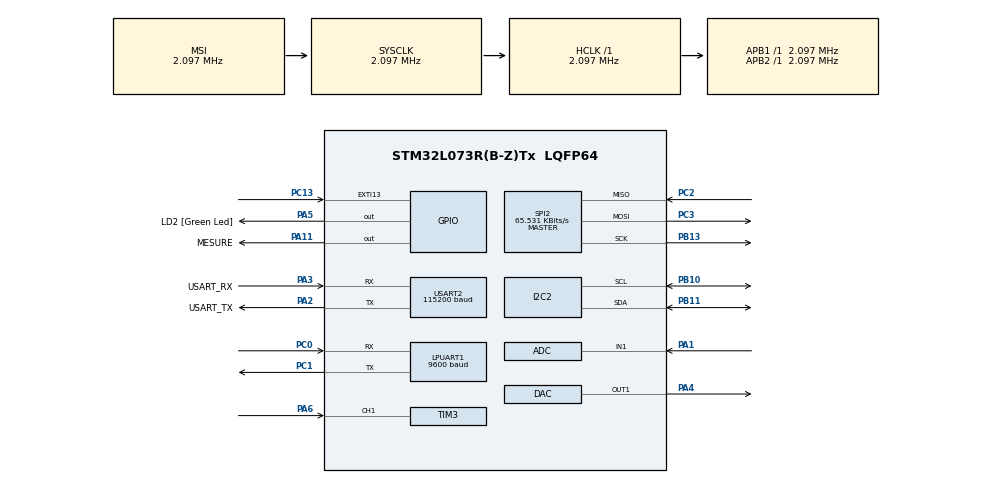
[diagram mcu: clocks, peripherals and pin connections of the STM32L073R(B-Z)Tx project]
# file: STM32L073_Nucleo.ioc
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ADC.ClockPrescaler=ADC_CLOCK_SYNC_PCLK_DIV2
ADC.ContinuousConvMode=DISABLE
ADC.DMAContinuousRequests=DISABLE
ADC.DataAlign=ADC_DATAALIGN_RIGHT
ADC.DiscontinuousConvMode=DISABLE
ADC.EOCSelection=ADC_EOC_SINGLE_CONV
ADC.EnableAnalogWatchDog=false
ADC.ExternalTrigConv=ADC_SOFTWARE_START
ADC.ExternalTrigConvEdge=ADC_EXTERNALTRIGCONVEDGE_NONE
ADC.LowPowerAutoPowerOff=DISABLE
ADC.LowPowerAutoWait=DISABLE
ADC.LowPowerFrequencyMode=DISABLE
ADC.Overrun=ADC_OVR_DATA_PRESERVED
ADC.OversamplingMode=DISABLE
ADC.Resolution=ADC_RESOLUTION_12B
ADC.SamplingTime=ADC_SAMPLETIME_160CYCLES_5
ADC.ScanConvMode=ADC_SCAN_DIRECTION_FORWARD
Dma.LPUART1_RX.0.Direction=DMA_PERIPH_TO_MEMORY
Dma.LPUART1_RX.0.Instance=DMA1_Channel3
Dma.LPUART1_RX.0.MemDataAlignment=DMA_MDATAALIGN_BYTE
Dma.LPUART1_RX.0.MemInc=DMA_MINC_ENABLE
Dma.LPUART1_RX.0.Mode=DMA_NORMAL
Dma.LPUART1_RX.0.PeriphDataAlignment=DMA_PDATAALIGN_BYTE
Dma.LPUART1_RX.0.PeriphInc=DMA_PINC_DISABLE
Dma.LPUART1_RX.0.Priority=DMA_PRIORITY_LOW
Dma.Request0=LPUART1_RX
Dma.Request1=SPI2_RX
Dma.Request2=SPI2_TX
Dma.Request3=TIM3_CH1
Dma.SPI2_RX.1.Direction=DMA_PERIPH_TO_MEMORY
Dma.SPI2_RX.1.Instance=DMA1_Channel4
Dma.SPI2_RX.1.MemDataAlignment=DMA_MDATAALIGN_BYTE
Dma.SPI2_RX.1.MemInc=DMA_MINC_ENABLE
Dma.SPI2_RX.1.Mode=DMA_NORMAL
Dma.SPI2_RX.1.PeriphDataAlignment=DMA_PDATAALIGN_BYTE
Dma.SPI2_RX.1.PeriphInc=DMA_PINC_DISABLE
Dma.SPI2_RX.1.Priority=DMA_PRIORITY_LOW
Dma.SPI2_TX.2.Direction=DMA_MEMORY_TO_PERIPH
Dma.SPI2_TX.2.Instance=DMA1_Channel7
Dma.SPI2_TX.2.MemDataAlignment=DMA_MDATAALIGN_BYTE
Dma.SPI2_TX.2.MemInc=DMA_MINC_ENABLE
Dma.SPI2_TX.2.Mode=DMA_NORMAL
Dma.SPI2_TX.2.PeriphDataAlignment=DMA_PDATAALIGN_BYTE
Dma.SPI2_TX.2.PeriphInc=DMA_PINC_DISABLE
Dma.SPI2_TX.2.Priority=DMA_PRIORITY_LOW
Dma.TIM3_CH1.3.Direction=DMA_PERIPH_TO_MEMORY
Dma.TIM3_CH1.3.Instance=DMA1_Channel5
Dma.TIM3_CH1.3.MemDataAlignment=DMA_MDATAALIGN_HALFWORD
Dma.TIM3_CH1.3.MemInc=DMA_MINC_ENABLE
Dma.TIM3_CH1.3.Mode=DMA_NORMAL
Dma.TIM3_CH1.3.PeriphDataAlignment=DMA_PDATAALIGN_HALFWORD
Dma.TIM3_CH1.3.PeriphInc=DMA_PINC_DISABLE
Dma.TIM3_CH1.3.Priority=DMA_PRIORITY_LOW
LPUART1.BaudRate=9600
LPUART1.OverrunDisableParam=UART_ADVFEATURE_OVERRUN_DISABLE
LPUART1.WordLength=UART_WORDLENGTH_8B
Mcu.Family=STM32L0
Mcu.Name=STM32L073R(B-Z)Tx
Mcu.Package=LQFP64
NVIC.AES_RNG_LPUART1_IRQn=true\:0\:0\:false\:false\:true\:true
NVIC.DMA1_Channel2_3_IRQn=true\:0\:0\:false\:false\:true\:true
NVIC.DMA1_Channel4_5_6_7_IRQn=true\:2\:0\:true\:false\:true\:true
NVIC.EXTI4_15_IRQn=true\:0\:0\:false\:false\:true\:true
NVIC.RTC_IRQn=true\:0\:0\:false\:false\:true\:true
NVIC.TIM3_IRQn=true\:0\:0\:false\:false\:true\:true
NVIC.TIM6_DAC_IRQn=true\:0\:0\:false\:false\:true\:true
NVIC.USART2_IRQn=true\:1\:0\:true\:false\:true\:true
PA1.Mode=IN1
PA1.Signal=ADC_IN1
PA11.GPIO_Label=MESURE
PA11.Signal=GPIO_Output
PA13.GPIO_Label=TMS
PA13.Mode=Serial_Wire
PA13.Signal=SYS_SWDIO
PA14.GPIO_Label=TCK
PA14.Mode=Serial_Wire
PA14.Signal=SYS_SWCLK
PA2.GPIO_Label=USART_TX
PA2.Mode=Asynchronous
PA2.Signal=USART2_TX
PA3.GPIO_Label=USART_RX
PA3.Mode=Asynchronous
PA3.Signal=USART2_RX
PA4.Signal=COMP_DAC1_group
PA5.GPIO_Label=LD2 [Green Led]
PA5.Signal=GPIO_Output
PA6.Signal=S_TIM3_CH1
PB10.Mode=I2C
PB10.Signal=I2C2_SCL
PB11.Mode=I2C
PB11.Signal=I2C2_SDA
PB13.Mode=Full_Duplex_Master
PB13.Signal=SPI2_SCK
PC0.Mode=Asynchronous
PC0.Signal=LPUART1_RX
PC1.Mode=Asynchronous
PC1.Signal=LPUART1_TX
PC13.Signal=GPXTI13
PC14-OSC32_IN.Signal=RCC_OSC32_IN
PC15-OSC32_OUT.Signal=RCC_OSC32_OUT
PC2.Mode=Full_Duplex_Master
PC2.Signal=SPI2_MISO
PC3.Mode=Full_Duplex_Master
PC3.Signal=SPI2_MOSI
PH0-OSC_IN.GPIO_Label=MCO
PH0-OSC_IN.Signal=RCC_OSC_IN
ProjectManager.HeapSize=0x200
ProjectManager.StackSize=0x400
ProjectManager.TargetToolchain=SW4STM32
RCC.AHBFreq_Value=2097000
RCC.APB1Freq_Value=2097000
RCC.APB1TimFreq_Value=2097000
RCC.APB2Freq_Value=2097000
RCC.APB2TimFreq_Value=2097000
RCC.EnableCSSLSE=false
RCC.HSE_VALUE=8000000
RCC.HSI16_VALUE=16000000
RCC.HSI48_VALUE=48000000
RCC.HSI_VALUE=16000000
RCC.LSEState=RCC_LSE_ON
RCC.LSE_VALUE=32768
RCC.MSI_VALUE=2097000
RCC.PLLSourceVirtual=RCC_PLLSOURCE_HSI
RCC.RCC_PERIPHCLK_HSI48Var=RCC_PERIPHCLK_USB
RCC.SYSCLKFreq_VALUE=2097000
RCC.VCOOutputFreq_Value=48000000
RTC.Alarm-Alarm\ A=RTC_ALARM_A
RTC.AlarmDateWeekDay-Alarm\ A=1
RTC.AlarmDateWeekDaySel-Alarm\ A=RTC_ALARMDATEWEEKDAYSEL_DATE
RTC.AlarmMaskDateWeekDay-Alarm\ A=RTC_ALARMMASK_DATEWEEKDAY
RTC.AlarmMaskHours-Alarm\ A=RTC_ALARMMASK_HOURS
RTC.AlarmMaskMinutes-Alarm\ A=RTC_ALARMMASK_MINUTES
RTC.AlarmMaskSeconds-Alarm\ A=RTC_ALARMMASK_SECONDS
RTC.Date=17
RTC.Hours=0
RTC.Month=RTC_MONTH_NOVEMBER
RTC.Seconds_A-Alarm\ A=2
RTC.WeekDay=RTC_WEEKDAY_FRIDAY
RTC.Year=17
SH.COMP_DAC1_group.0=DAC_OUT1,DAC_OUT1
SH.S_TIM3_CH1.0=TIM3_CH1,Input_Capture1_from_TI1
SPI2.BaudRatePrescaler=SPI_BAUDRATEPRESCALER_32
SPI2.CalculateBaudRate=65.531 KBits/s
SPI2.Direction=SPI_DIRECTION_2LINES
SPI2.Mode=SPI_MODE_MASTER
SPI2.VirtualType=VM_MASTER
TIM3.Channel-Input_Capture1_from_TI1=TIM_CHANNEL_1
TIM3.ICPolarity_CH1=TIM_INPUTCHANNELPOLARITY_BOTHEDGE
TIM3.Period=65535
TIM3.Prescaler=9
TIM6.Period=100
TIM6.Prescaler=2096
USART2.BaudRate=115200
USART2.OverrunDisableParam=UART_ADVFEATURE_OVERRUN_DISABLE
USART2.VirtualMode-Asynchronous=VM_ASYNC
USART2.WordLength=WORDLENGTH_8B
VP_ADC_TempSens_Input.Mode=IN-TempSens
VP_RTC_VS_RTC_Activate.Mode=RTC_Enabled
VP_RTC_VS_RTC_Alarm_A_Intern.Mode=Alarm A
VP_RTC_VS_RTC_Calendar.Mode=RTC_Calendar
VP_TIM3_VS_ClockSourceINT.Mode=Internal
VP_TIM6_VS_ClockSourceINT.Mode=Enable_Timer
board=NUCLEO-L073RZ

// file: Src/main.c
/**
  ******************************************************************************
  * File Name          : main.c
  * Description        : Main program body
  ******************************************************************************
  *
  * COPYRIGHT(c) 2017 STMicroelectronics
  *
  * Redistribution and use in source and binary forms, with or without modification,
  * are permitted provided that the following conditions are met:
  *   1. Redistributions of source code must retain the above copyright notice,
  *      this list of conditions and the following disclaimer.
  *   2. Redistributions in binary form must reproduce the above copyright notice,
  *      this list of conditions and the following disclaimer in the documentation
  *      and/or other materials provided with the distribution.
  *   3. Neither the name of STMicroelectronics nor the names of its contributors
  *      may be used to endorse or promote products derived from this software
  *      without specific prior written permission.
  *
  * THIS SOFTWARE IS PROVIDED BY THE COPYRIGHT HOLDERS AND CONTRIBUTORS "AS IS"
  * AND ANY EXPRESS OR IMPLIED WARRANTIES, INCLUDING, BUT NOT LIMITED TO, THE
  * IMPLIED WARRANTIES OF MERCHANTABILITY AND FITNESS FOR A PARTICULAR PURPOSE ARE
  * DISCLAIMED. IN NO EVENT SHALL THE COPYRIGHT HOLDER OR CONTRIBUTORS BE LIABLE
  * FOR ANY DIRECT, INDIRECT, INCIDENTAL, SPECIAL, EXEMPLARY, OR CONSEQUENTIAL
  * DAMAGES (INCLUDING, BUT NOT LIMITED TO, PROCUREMENT OF SUBSTITUTE GOODS OR
  * SERVICES; LOSS OF USE, DATA, OR PROFITS; OR BUSINESS INTERRUPTION) HOWEVER
  * CAUSED AND ON ANY THEORY OF LIABILITY, WHETHER IN CONTRACT, STRICT LIABILITY,
  * OR TORT (INCLUDING NEGLIGENCE OR OTHERWISE) ARISING IN ANY WAY OUT OF THE USE
  * OF THIS SOFTWARE, EVEN IF ADVISED OF THE POSSIBILITY OF SUCH DAMAGE.
  *
  ******************************************************************************
  */
#include "main.h"
#include "stm32l0xx_hal.h"

/* USER CODE BEGIN Includes */
#include "print_menu.h"
#include "rtc.h"
#include "gpio.h"
#include "adc.h"
#include "tim.h"
#include "spi.h"
#include "callback.h"
#include "uart.h"

/* USER CODE END Includes */

ADC_HandleTypeDef hadc;

DAC_HandleTypeDef hdac;

I2C_HandleTypeDef hi2c2;

UART_HandleTypeDef hlpuart1;
UART_HandleTypeDef huart2;
DMA_HandleTypeDef hdma_lpuart1_rx;

RTC_HandleTypeDef hrtc;

SPI_HandleTypeDef hspi2;
DMA_HandleTypeDef hdma_spi2_rx;
DMA_HandleTypeDef hdma_spi2_tx;

TIM_HandleTypeDef htim3;
TIM_HandleTypeDef htim6;
DMA_HandleTypeDef hdma_tim3_ch1;

/* USER CODE BEGIN PV */
/* Private variables ---------------------------------------------------------*/

state etat_courant=MENU_START_PRINT;

/***** Buffer UART2, LPUART, et SPI *****/
uint8_t rx_buffer_uart[TAILLE_BUF_UART_RX]={0};
uint8_t tx_buffer_uart[TAILLE_BUF_UART_TX]={0};
uint8_t rx_buffer_lpuart[TAILLE_BUF_LPUART_RX]={0};
uint8_t tx_buffer_lpuart[TAILLE_BUF_LPUART_TX]={ 'A' , 'B' , 'C' , 'D' , '\0' };
uint8_t rx_buffer_spi[TAILLE_BUF_SPI]={0};
uint8_t tx_buffer_spi[TAILLE_BUF_SPI]={0,11,22,33,44,55,66,77,88,99};

/***** Variables Gestion UART2 *****/
uint8_t  UART2_IsStringValid=0;
uint8_t  UART2_CaractereRecu;
uint32_t UART2_NbrCaractereRecu=0;

/***** variables Gestion Input Captur TIM3  *****/
uint8_t  IC_IsCaptureDone=0;
uint8_t  IC_PA11Calculate=0;
uint8_t  IC_PA11Start=1;
uint16_t IC_Captures[2];

/***** Variables Gestion LPUART *****/
uint8_t LPUART_IsITReceived=0;
uint8_t LPUART_IsDMAReceived=0;

/***** Variables Gestion sortie des Etats *****/
uint8_t AttenteSortieEtat=0;
volatile uint8_t SortieEtat=0;

/***** Variables Gestion RTC *****/
RTC_DateTypeDef my_date;
RTC_TimeTypeDef my_time;

/* USER CODE END PV */

void SystemClock_Config(void);
void Error_Handler(void);
static void MX_GPIO_Init(void);
static void MX_DMA_Init(void);
static void MX_USART2_UART_Init(void);
static void MX_ADC_Init(void);
static void MX_DAC_Init(void);
static void MX_RTC_Init(void);
static void MX_TIM6_Init(void);
static void MX_TIM3_Init(void);
static void MX_SPI2_Init(void);
static void MX_I2C2_Init(void);
static void MX_LPUART1_UART_Init(void);

/* USER CODE BEGIN PFP */
/* Private function prototypes -----------------------------------------------*/

/* USER CODE END PFP */

int main(void)
{

  /* MCU Configuration----------------------------------------------------------*/

  /* Reset of all peripherals, Initializes the Flash interface and the Systick. */
  HAL_Init();

  /* Configure the system clock */
  SystemClock_Config();

  /* Initialize all configured peripherals */
  MX_GPIO_Init();
  MX_DMA_Init();
  MX_USART2_UART_Init();
  MX_ADC_Init();
  MX_DAC_Init();
  MX_RTC_Init();
  MX_TIM6_Init();
  MX_TIM3_Init();
  MX_SPI2_Init();
  MX_I2C2_Init();
  MX_LPUART1_UART_Init();

  /* USER CODE BEGIN 2 */
  HAL_DAC_Start(&hdac,DAC_CHANNEL_1);
  HAL_TIM_Base_Start(&htim3);

  /* USER CODE END 2 */

  /* Infinite loop */
  /* USER CODE BEGIN WHILE */

  /***** Desactivation des IRQ BP(User) et RTC *****/
  HAL_NVIC_DisableIRQ(EXTI4_15_IRQn);
  HAL_NVIC_DisableIRQ(RTC_IRQn);

  /***** Desactivation du LP_UART1 *****/
  HAL_UART_DeInit(&hlpuart1);

 PRINTF(TERMINAL_RESET);

  while (1)
  {

  /* USER CODE END WHILE */

  /* USER CODE BEGIN 3 */
	  switch(etat_courant){
	  case MENU_START_PRINT 		: print_menu();															break;
	  case MENU_GPIO_PRINT			: print_menu_gpio();													break;
	  case TEST_GPIO_POLLING		: test_gpio(TEST_GPIO_POLLING);			etat_courant=MENU_GPIO_PRINT;	break;
	  case TEST_GPIO_IT				: test_gpio(TEST_GPIO_IT);				etat_courant=MENU_GPIO_PRINT;	break;
	  case MENU_ADC_PRINT			: print_menu_adc();														break;
	  case TEST_ADC_IN1				: test_adc(TEST_ADC_IN1);				etat_courant=MENU_ADC_PRINT;	break;
	  case TEST_ADC_TEMPERATURE 	: test_adc(TEST_ADC_TEMPERATURE); 		etat_courant=MENU_ADC_PRINT; 	break;
	  case TEST_ADC_CALIB			: test_adc(TEST_ADC_CALIB);				etat_courant=MENU_ADC_PRINT; 	break;
	  case MENU_RTC_PRINT			: print_menu_rtc();														break;
	  case TEST_RTC_GET				: test_rtc(TEST_RTC_GET);				etat_courant=MENU_RTC_PRINT;	break;
	  case TEST_RTC_SET				: test_rtc(TEST_RTC_SET);				etat_courant=MENU_RTC_PRINT;	break;
	  case TEST_RTC_ALARM			: test_rtc(TEST_RTC_ALARM);				etat_courant=MENU_RTC_PRINT;	break;
	  case MENU_TIMER_PRINT			: print_menu_timer();													break;
	  case TEST_TIM6_BASIC			: test_timer(TEST_TIM6_BASIC);			etat_courant=MENU_TIMER_PRINT;	break;
	  case TEST_TIM3_IC_PA5			: test_timer(TEST_TIM3_IC_PA5);			etat_courant=MENU_TIMER_PRINT;	break;
	  case TEST_TIM3_IC_PA11		: test_timer(TEST_TIM3_IC_PA11);		etat_courant=MENU_TIMER_PRINT;	break;
	  case TEST_SPI					: test_spi();							etat_courant=MENU_START_PRINT;	break;
	  case MENU_UART_PRINT			: print_menu_uart();													break;
	  case TEST_UART_POLLING		: test_uart(TEST_UART_POLLING);			etat_courant=MENU_UART_PRINT;	break;
	  case TEST_UART_IT				: test_uart(TEST_UART_IT);				etat_courant=MENU_UART_PRINT;	break;
	  case TEST_UART_DMA			: test_uart(TEST_UART_DMA);				etat_courant=MENU_UART_PRINT;	break;

	  }
  }
  /* USER CODE END 3 */

}

/** System Clock Configuration
*/
void SystemClock_Config(void)
{

  RCC_OscInitTypeDef RCC_OscInitStruct;
  RCC_ClkInitTypeDef RCC_ClkInitStruct;
  RCC_PeriphCLKInitTypeDef PeriphClkInit;

    /**Configure the main internal regulator output voltage
    */
  __HAL_PWR_VOLTAGESCALING_CONFIG(PWR_REGULATOR_VOLTAGE_SCALE1);

    /**Initializes the CPU, AHB and APB busses clocks
    */
  RCC_OscInitStruct.OscillatorType = RCC_OSCILLATORTYPE_LSI|RCC_OSCILLATORTYPE_MSI;
  RCC_OscInitStruct.LSIState = RCC_LSI_ON;
  RCC_OscInitStruct.MSIState = RCC_MSI_ON;
  RCC_OscInitStruct.MSICalibrationValue = 0;
  RCC_OscInitStruct.MSIClockRange = RCC_MSIRANGE_5;
  RCC_OscInitStruct.PLL.PLLState = RCC_PLL_NONE;
  if (HAL_RCC_OscConfig(&RCC_OscInitStruct) != HAL_OK)
  {
    Error_Handler();
  }

    /**Initializes the CPU, AHB and APB busses clocks
    */
  RCC_ClkInitStruct.ClockType = RCC_CLOCKTYPE_HCLK|RCC_CLOCKTYPE_SYSCLK
                              |RCC_CLOCKTYPE_PCLK1|RCC_CLOCKTYPE_PCLK2;
  RCC_ClkInitStruct.SYSCLKSource = RCC_SYSCLKSOURCE_MSI;
  RCC_ClkInitStruct.AHBCLKDivider = RCC_SYSCLK_DIV1;
  RCC_ClkInitStruct.APB1CLKDivider = RCC_HCLK_DIV1;
  RCC_ClkInitStruct.APB2CLKDivider = RCC_HCLK_DIV1;

  if (HAL_RCC_ClockConfig(&RCC_ClkInitStruct, FLASH_LATENCY_0) != HAL_OK)
  {
    Error_Handler();
  }

  PeriphClkInit.PeriphClockSelection = RCC_PERIPHCLK_USART2|RCC_PERIPHCLK_LPUART1
                              |RCC_PERIPHCLK_RTC|RCC_PERIPHCLK_USB;
  PeriphClkInit.Usart2ClockSelection = RCC_USART2CLKSOURCE_PCLK1;
  PeriphClkInit.Lpuart1ClockSelection = RCC_LPUART1CLKSOURCE_PCLK1;
  PeriphClkInit.RTCClockSelection = RCC_RTCCLKSOURCE_LSI;
  if (HAL_RCCEx_PeriphCLKConfig(&PeriphClkInit) != HAL_OK)
  {
    Error_Handler();
  }

    /**Configure the Systick interrupt time
    */
  HAL_SYSTICK_Config(HAL_RCC_GetHCLKFreq()/1000);

    /**Configure the Systick
    */
  HAL_SYSTICK_CLKSourceConfig(SYSTICK_CLKSOURCE_HCLK);

  /* SysTick_IRQn interrupt configuration */
  HAL_NVIC_SetPriority(SysTick_IRQn, 0, 0);
}

/* ADC init function */
static void MX_ADC_Init(void)
{

  ADC_ChannelConfTypeDef sConfig;

    /**Configure the global features of the ADC (Clock, Resolution, Data Alignment and number of conversion)
    */
  hadc.Instance = ADC1;
  hadc.Init.OversamplingMode = DISABLE;
  hadc.Init.ClockPrescaler = ADC_CLOCK_SYNC_PCLK_DIV2;
  hadc.Init.Resolution = ADC_RESOLUTION_12B;
  hadc.Init.SamplingTime = ADC_SAMPLETIME_160CYCLES_5;
  hadc.Init.ScanConvMode = ADC_SCAN_DIRECTION_FORWARD;
  hadc.Init.DataAlign = ADC_DATAALIGN_RIGHT;
  hadc.Init.ContinuousConvMode = DISABLE;
  hadc.Init.DiscontinuousConvMode = DISABLE;
  hadc.Init.ExternalTrigConvEdge = ADC_EXTERNALTRIGCONVEDGE_NONE;
  hadc.Init.ExternalTrigConv = ADC_SOFTWARE_START;
  hadc.Init.DMAContinuousRequests = DISABLE;
  hadc.Init.EOCSelection = ADC_EOC_SINGLE_CONV;
  hadc.Init.Overrun = ADC_OVR_DATA_PRESERVED;
  hadc.Init.LowPowerAutoWait = DISABLE;
  hadc.Init.LowPowerFrequencyMode = DISABLE;
  hadc.Init.LowPowerAutoPowerOff = DISABLE;
  if (HAL_ADC_Init(&hadc) != HAL_OK)
  {
    Error_Handler();
  }

    /**Configure for the selected ADC regular channel to be converted.
    */
  sConfig.Channel = ADC_CHANNEL_1;
  sConfig.Rank = ADC_RANK_CHANNEL_NUMBER;
  if (HAL_ADC_ConfigChannel(&hadc, &sConfig) != HAL_OK)
  {
    Error_Handler();
  }

    /**Configure for the selected ADC regular channel to be converted.
    */
  sConfig.Channel = ADC_CHANNEL_TEMPSENSOR;
  if (HAL_ADC_ConfigChannel(&hadc, &sConfig) != HAL_OK)
  {
    Error_Handler();
  }

}

/* DAC init function */
static void MX_DAC_Init(void)
{

  DAC_ChannelConfTypeDef sConfig;

    /**DAC Initialization
    */
  hdac.Instance = DAC;
  if (HAL_DAC_Init(&hdac) != HAL_OK)
  {
    Error_Handler();
  }

    /**DAC channel OUT1 config
    */
  sConfig.DAC_Trigger = DAC_TRIGGER_NONE;
  sConfig.DAC_OutputBuffer = DAC_OUTPUTBUFFER_ENABLE;
  if (HAL_DAC_ConfigChannel(&hdac, &sConfig, DAC_CHANNEL_1) != HAL_OK)
  {
    Error_Handler();
  }

}

/* I2C2 init function */
static void MX_I2C2_Init(void)
{

  hi2c2.Instance = I2C2;
  hi2c2.Init.Timing = 0x00000708;
  hi2c2.Init.OwnAddress1 = 0;
  hi2c2.Init.AddressingMode = I2C_ADDRESSINGMODE_7BIT;
  hi2c2.Init.DualAddressMode = I2C_DUALADDRESS_DISABLE;
  hi2c2.Init.OwnAddress2 = 0;
  hi2c2.Init.OwnAddress2Masks = I2C_OA2_NOMASK;
  hi2c2.Init.GeneralCallMode = I2C_GENERALCALL_DISABLE;
  hi2c2.Init.NoStretchMode = I2C_NOSTRETCH_DISABLE;
  if (HAL_I2C_Init(&hi2c2) != HAL_OK)
  {
    Error_Handler();
  }

    /**Configure Analogue filter
    */
  if (HAL_I2CEx_ConfigAnalogFilter(&hi2c2, I2C_ANALOGFILTER_ENABLE) != HAL_OK)
  {
    Error_Handler();
  }

    /**Configure Digital filter
    */
  if (HAL_I2CEx_ConfigDigitalFilter(&hi2c2, 0) != HAL_OK)
  {
    Error_Handler();
  }

}

/* LPUART1 init function */
static void MX_LPUART1_UART_Init(void)
{

  hlpuart1.Instance = LPUART1;
  hlpuart1.Init.BaudRate = 9600;
  hlpuart1.Init.WordLength = UART_WORDLENGTH_8B;
  hlpuart1.Init.StopBits = UART_STOPBITS_1;
  hlpuart1.Init.Parity = UART_PARITY_NONE;
  hlpuart1.Init.Mode = UART_MODE_TX_RX;
  hlpuart1.Init.HwFlowCtl = UART_HWCONTROL_NONE;
  hlpuart1.Init.OneBitSampling = UART_ONE_BIT_SAMPLE_DISABLE;
  hlpuart1.AdvancedInit.AdvFeatureInit = UART_ADVFEATURE_RXOVERRUNDISABLE_INIT;
  hlpuart1.AdvancedInit.OverrunDisable = UART_ADVFEATURE_OVERRUN_DISABLE;
  if (HAL_UART_Init(&hlpuart1) != HAL_OK)
  {
    Error_Handler();
  }

}

/* USART2 init function */
static void MX_USART2_UART_Init(void)
{

  huart2.Instance = USART2;
  huart2.Init.BaudRate = 115200;
  huart2.Init.WordLength = UART_WORDLENGTH_8B;
  huart2.Init.StopBits = UART_STOPBITS_1;
  huart2.Init.Parity = UART_PARITY_NONE;
  huart2.Init.Mode = UART_MODE_TX_RX;
  huart2.Init.HwFlowCtl = UART_HWCONTROL_NONE;
  huart2.Init.OverSampling = UART_OVERSAMPLING_16;
  huart2.Init.OneBitSampling = UART_ONE_BIT_SAMPLE_DISABLE;
  huart2.AdvancedInit.AdvFeatureInit = UART_ADVFEATURE_RXOVERRUNDISABLE_INIT;
  huart2.AdvancedInit.OverrunDisable = UART_ADVFEATURE_OVERRUN_DISABLE;
  if (HAL_UART_Init(&huart2) != HAL_OK)
  {
    Error_Handler();
  }

}

/* RTC init function */
static void MX_RTC_Init(void)
{

  RTC_TimeTypeDef sTime;
  RTC_DateTypeDef sDate;
  RTC_AlarmTypeDef sAlarm;

    /**Initialize RTC Only
    */
  hrtc.Instance = RTC;
  hrtc.Init.HourFormat = RTC_HOURFORMAT_24;
  hrtc.Init.AsynchPrediv = 127;
  hrtc.Init.SynchPrediv = 255;
  hrtc.Init.OutPut = RTC_OUTPUT_DISABLE;
  hrtc.Init.OutPutRemap = RTC_OUTPUT_REMAP_NONE;
  hrtc.Init.OutPutPolarity = RTC_OUTPUT_POLARITY_HIGH;
  hrtc.Init.OutPutType = RTC_OUTPUT_TYPE_OPENDRAIN;
  if (HAL_RTC_Init(&hrtc) != HAL_OK)
  {
    Error_Handler();
  }

    /**Initialize RTC and set the Time and Date
    */
  if(HAL_RTCEx_BKUPRead(&hrtc, RTC_BKP_DR0) != 0x32F2){
  sTime.Hours = 0x0;
  sTime.Minutes = 0x0;
  sTime.Seconds = 0x0;
  sTime.DayLightSaving = RTC_DAYLIGHTSAVING_NONE;
  sTime.StoreOperation = RTC_STOREOPERATION_RESET;
  if (HAL_RTC_SetTime(&hrtc, &sTime, RTC_FORMAT_BCD) != HAL_OK)
  {
    Error_Handler();
  }

  sDate.WeekDay = RTC_WEEKDAY_FRIDAY;
  sDate.Month = RTC_MONTH_NOVEMBER;
  sDate.Date = 0x17;
  sDate.Year = 0x17;

  if (HAL_RTC_SetDate(&hrtc, &sDate, RTC_FORMAT_BCD) != HAL_OK)
  {
    Error_Handler();
  }

    HAL_RTCEx_BKUPWrite(&hrtc,RTC_BKP_DR0,0x32F2);
  }
    /**Enable the Alarm A
    */
  sAlarm.AlarmTime.Hours = 0x0;
  sAlarm.AlarmTime.Minutes = 0x0;
  sAlarm.AlarmTime.Seconds = 0x2;
  sAlarm.AlarmTime.SubSeconds = 0x0;
  sAlarm.AlarmTime.DayLightSaving = RTC_DAYLIGHTSAVING_NONE;
  sAlarm.AlarmTime.StoreOperation = RTC_STOREOPERATION_RESET;
  sAlarm.AlarmMask = RTC_ALARMMASK_ALL;
  sAlarm.AlarmSubSecondMask = RTC_ALARMSUBSECONDMASK_ALL;
  sAlarm.AlarmDateWeekDaySel = RTC_ALARMDATEWEEKDAYSEL_DATE;
  sAlarm.AlarmDateWeekDay = 0x1;
  sAlarm.Alarm = RTC_ALARM_A;
  if (HAL_RTC_SetAlarm_IT(&hrtc, &sAlarm, RTC_FORMAT_BCD) != HAL_OK)
  {
    Error_Handler();
  }

}

/* SPI2 init function */
static void MX_SPI2_Init(void)
{

  hspi2.Instance = SPI2;
  hspi2.Init.Mode = SPI_MODE_MASTER;
  hspi2.Init.Direction = SPI_DIRECTION_2LINES;
  hspi2.Init.DataSize = SPI_DATASIZE_8BIT;
  hspi2.Init.CLKPolarity = SPI_POLARITY_LOW;
  hspi2.Init.CLKPhase = SPI_PHASE_1EDGE;
  hspi2.Init.NSS = SPI_NSS_SOFT;
  hspi2.Init.BaudRatePrescaler = SPI_BAUDRATEPRESCALER_32;
  hspi2.Init.FirstBit = SPI_FIRSTBIT_MSB;
  hspi2.Init.TIMode = SPI_TIMODE_DISABLE;
  hspi2.Init.CRCCalculation = SPI_CRCCALCULATION_DISABLE;
  hspi2.Init.CRCPolynomial = 7;
  if (HAL_SPI_Init(&hspi2) != HAL_OK)
  {
    Error_Handler();
  }

}

/* TIM3 init function */
static void MX_TIM3_Init(void)
{

  TIM_ClockConfigTypeDef sClockSourceConfig;
  TIM_MasterConfigTypeDef sMasterConfig;
  TIM_IC_InitTypeDef sConfigIC;

  htim3.Instance = TIM3;
  htim3.Init.Prescaler = 9;
  htim3.Init.CounterMode = TIM_COUNTERMODE_UP;
  htim3.Init.Period = 65535;
  htim3.Init.ClockDivision = TIM_CLOCKDIVISION_DIV1;
  if (HAL_TIM_Base_Init(&htim3) != HAL_OK)
  {
    Error_Handler();
  }

  sClockSourceConfig.ClockSource = TIM_CLOCKSOURCE_INTERNAL;
  if (HAL_TIM_ConfigClockSource(&htim3, &sClockSourceConfig) != HAL_OK)
  {
    Error_Handler();
  }

  if (HAL_TIM_IC_Init(&htim3) != HAL_OK)
  {
    Error_Handler();
  }

  sMasterConfig.MasterOutputTrigger = TIM_TRGO_RESET;
  sMasterConfig.MasterSlaveMode = TIM_MASTERSLAVEMODE_DISABLE;
  if (HAL_TIMEx_MasterConfigSynchronization(&htim3, &sMasterConfig) != HAL_OK)
  {
    Error_Handler();
  }

  sConfigIC.ICPolarity = TIM_INPUTCHANNELPOLARITY_BOTHEDGE;
  sConfigIC.ICSelection = TIM_ICSELECTION_DIRECTTI;
  sConfigIC.ICPrescaler = TIM_ICPSC_DIV1;
  sConfigIC.ICFilter = 0;
  if (HAL_TIM_IC_ConfigChannel(&htim3, &sConfigIC, TIM_CHANNEL_1) != HAL_OK)
  {
    Error_Handler();
  }

  if (HAL_TIMEx_RemapConfig(&htim3, TIM3_TI1_GPIO) != HAL_OK)
  {
    Error_Handler();
  }

}

/* TIM6 init function */
static void MX_TIM6_Init(void)
{

  TIM_MasterConfigTypeDef sMasterConfig;

  htim6.Instance = TIM6;
  htim6.Init.Prescaler = 2096;
  htim6.Init.CounterMode = TIM_COUNTERMODE_UP;
  htim6.Init.Period = 100;
  if (HAL_TIM_Base_Init(&htim6) != HAL_OK)
  {
    Error_Handler();
  }

  sMasterConfig.MasterOutputTrigger = TIM_TRGO_RESET;
  sMasterConfig.MasterSlaveMode = TIM_MASTERSLAVEMODE_DISABLE;
  if (HAL_TIMEx_MasterConfigSynchronization(&htim6, &sMasterConfig) != HAL_OK)
  {
    Error_Handler();
  }

}

static void MX_DMA_Init(void)
{
  /* DMA controller clock enable */
  __HAL_RCC_DMA1_CLK_ENABLE();

  /* DMA interrupt init */
  /* DMA1_Channel2_3_IRQn interrupt configuration */
  HAL_NVIC_SetPriority(DMA1_Channel2_3_IRQn, 0, 0);
  HAL_NVIC_EnableIRQ(DMA1_Channel2_3_IRQn);
  /* DMA1_Channel4_5_6_7_IRQn interrupt configuration */
  HAL_NVIC_SetPriority(DMA1_Channel4_5_6_7_IRQn, 2, 0);
  HAL_NVIC_EnableIRQ(DMA1_Channel4_5_6_7_IRQn);

}

/** Configure pins as
        * Analog
        * Input
        * Output
        * EVENT_OUT
        * EXTI
*/
static void MX_GPIO_Init(void)
{

  GPIO_InitTypeDef GPIO_InitStruct;

  /* GPIO Ports Clock Enable */
  __HAL_RCC_GPIOC_CLK_ENABLE();
  __HAL_RCC_GPIOH_CLK_ENABLE();
  __HAL_RCC_GPIOA_CLK_ENABLE();
  __HAL_RCC_GPIOB_CLK_ENABLE();

  /*Configure GPIO pin Output Level */
  HAL_GPIO_WritePin(GPIOA, LD2_Pin|MESURE_Pin, GPIO_PIN_RESET);

  /*Configure GPIO pin : PC13 */
  GPIO_InitStruct.Pin = GPIO_PIN_13;
  GPIO_InitStruct.Mode = GPIO_MODE_IT_RISING;
  GPIO_InitStruct.Pull = GPIO_NOPULL;
  HAL_GPIO_Init(GPIOC, &GPIO_InitStruct);

  /*Configure GPIO pins : LD2_Pin MESURE_Pin */
  GPIO_InitStruct.Pin = LD2_Pin|MESURE_Pin;
  GPIO_InitStruct.Mode = GPIO_MODE_OUTPUT_PP;
  GPIO_InitStruct.Pull = GPIO_NOPULL;
  GPIO_InitStruct.Speed = GPIO_SPEED_FREQ_LOW;
  HAL_GPIO_Init(GPIOA, &GPIO_InitStruct);

  /* EXTI interrupt init*/
  HAL_NVIC_SetPriority(EXTI4_15_IRQn, 0, 0);
  HAL_NVIC_EnableIRQ(EXTI4_15_IRQn);

}

void Error_Handler(void)
{
  while(1)
  {
  }
}

/************************ (C) COPYRIGHT STMicroelectronics *****END OF FILE****/
